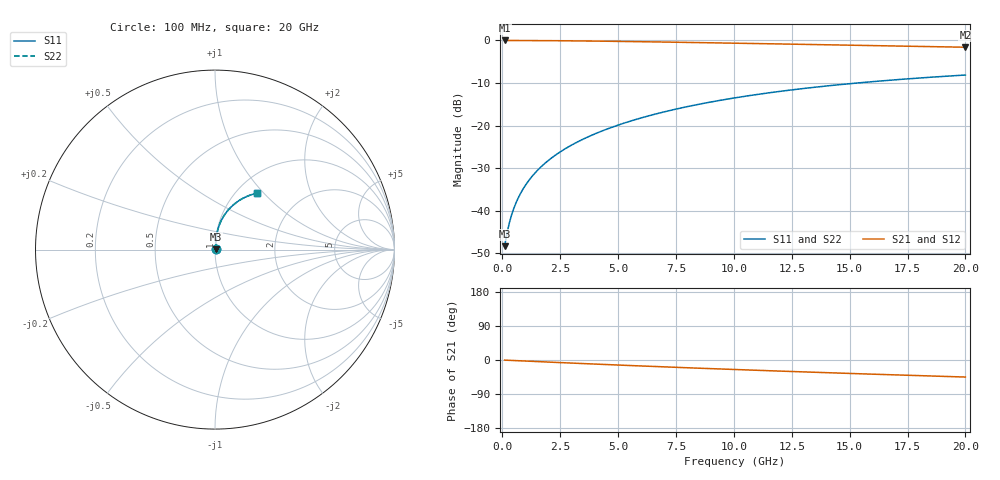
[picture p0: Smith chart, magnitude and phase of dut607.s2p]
! Touchstone file exported from HFSS 2024.1.0
!  File:  C:/UserFiles/LocalFiles/RDL_TSV_Batchsim/temp_RDL_top_607_1779779583.aedt
!  Generated:  03:15:34 PM May 26, 2026
!  Design:  RDL_top
!  Project:  temp_RDL_top_607_1779779583
!  Setup:  Setup1
!  Solution:  Sweep
! Variables:
!  dtsv = 10.80580581um
!  hbump = 3um
!  htsv = 59.19um
!  ldown = 100um
!  lrdl = 648.8um
!  p = 40
!  p1 = 50.38um
!  rhole = 1um
!  t = 450um
!  tdown = 3.915915916um
!  trdl = 3.44um
!  wdown = 15.38538539um
!  wrdl = 22.39um
# GHz S MA R 50.000000
! Terminal data exported
! Port[1] = Box2_T1
! Port[2] = Box2_T2
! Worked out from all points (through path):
!   200 points, 100 MHz to 20 GHz, reference 50 ohm
!   highest |S21| = -0.03 dB at 100 MHz (marker M1); lowest = -1.6 dB at 20 GHz (marker M2)
!   group delay of S21, straight-line fit = 6.19 ps
!   lowest |S11| = -48.3 dB at 100 MHz (marker M3), VSWR 1.01, Z = 50.3 + j0.217 ohm
!   |S11| at or under -10 dB: start of sweep to 15.35 GHz
!   |S22| runs from -48.3 to -8.1 dB; largest |S21 - S12| = 2e-15
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0.1  0.003846 34.1  0.9968 -0.3  0.9968 -0.3  0.003846 34.1
! Gamma 0 0 0 0
! Port Impedance 50 0 50 0
0.2  0.005393 51.7  0.9966 -0.6  0.9966 -0.6  0.005393 51.7
0.3  0.007142 60.5  0.9964 -0.9  0.9964 -0.9  0.007142 60.5
0.4  0.008928 65.7  0.9962 -1.1  0.9962 -1.1  0.008928 65.7
0.5  0.01073 69.3  0.996 -1.4  0.996 -1.4  0.01073 69.3
0.6  0.01254 71.9  0.9958 -1.7  0.9958 -1.7  0.01254 71.9
0.8  0.01622 75.6  0.9953 -2.2  0.9953 -2.2  0.01622 75.6
1.1  0.02183 78.8  0.9946 -3.0  0.9946 -3.0  0.02183 78.8
1.3  0.02563 80.2  0.9941 -3.6  0.9941 -3.6  0.02563 80.2
1.6  0.03139 81.6  0.9931 -4.4  0.9931 -4.4  0.03139 81.6
2.1  0.04116 82.9  0.9912 -5.8  0.9912 -5.8  0.04116 82.9
2.7  0.05312 83.6  0.9882 -7.4  0.9882 -7.4  0.05312 83.6
3.5  0.06948 83.7  0.9834 -9.5  0.9834 -9.5  0.06948 83.7
4.2  0.08415 83.4  0.9785 -11.3  0.9785 -11.3  0.08414 83.4
5  0.1013 82.6  0.9724 -13.3  0.9724 -13.3  0.1012 82.6
6.8  0.1406 79.9  0.9568 -17.7  0.9568 -17.7  0.1406 79.9
8.4  0.1758 77.0  0.9419 -21.4  0.9419 -21.4  0.1758 77.0
10.1  0.2126 73.5  0.9255 -25.2  0.9255 -25.2  0.2126 73.5
11.7  0.246 70.1  0.9099 -28.7  0.9099 -28.7  0.246 70.1
13.4  0.2799 66.5  0.8933 -32.2  0.8933 -32.2  0.2799 66.5
16.7  0.3399 59.7  0.8613 -38.8  0.8613 -38.8  0.3399 59.7
20  0.3917 53.4  0.83 -45.0  0.83 -45.0  0.3918 53.4
